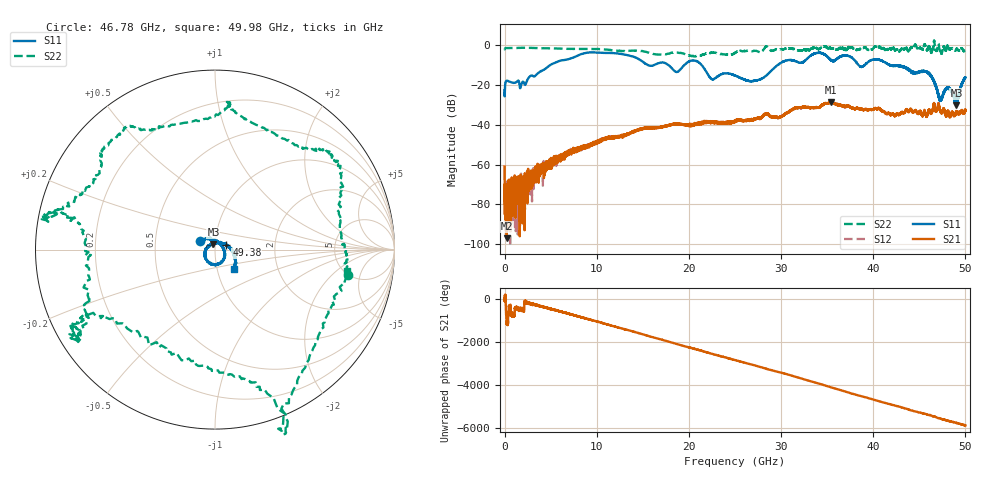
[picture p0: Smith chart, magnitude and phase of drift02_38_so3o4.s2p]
!Created with skrf (http://scikit-rf.org).
# Hz S RI R 50.0
!freq ReS11 ImS11 ReS21 ImS21 ReS12 ImS12 ReS22 ImS22
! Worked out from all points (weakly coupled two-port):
!   10001 points, 300 kHz to 50 GHz, reference 50 ohm
!   highest |S21| = -28.55 dB at 35.38 GHz (marker M1); lowest = -97.1 dB at 240.3 MHz (marker M2)
!   lowest |S11| = -30.3 dB at 49.03 GHz (marker M3), VSWR 1.06, Z = 49.1 + j2.89 ohm
!   |S11| at or under -10 dB: start of sweep to 4.956 GHz; 21.38 GHz to 29.63 GHz (8.248 GHz wide, 32.3 % of centre); 41.84 GHz to end of sweep (the widest 3 of 11)
!   |S22| runs from -5.7 to 2.4 dB; largest |S21 - S12| = 0.0033
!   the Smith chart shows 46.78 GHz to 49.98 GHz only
!   S11 on the Smith chart (normalised r, x): 46.78 GHz: 0.84, +0.08; 49.38 GHz: 1.13, +0.06; 49.98 GHz: 1.21, -0.26
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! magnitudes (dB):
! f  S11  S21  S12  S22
! 300 kHz  -22.6  -61.0  -63.1  -2.0
! 240.3 MHz  -17.9  -97.1  -74.9  -1.4
! 1.875 GHz  -19.0  -70.8  -79.7  -1.3
! 3.6 GHz  -14.2  -61.6  -61.0  -1.5
! 8.335 GHz  -4.5  -52.3  -51.6  -1.9
! 16.67 GHz  -9.1  -41.3  -41.4  -4.7
! 18.7 GHz  -13.5  -39.6  -39.5  -3.7
! 20.6 GHz  -7.7  -40.2  -39.7  -5.7
! 22.51 GHz  -17.1  -38.8  -38.9  -3.7
! 25 GHz  -15.3  -37.9  -38.3  -3.9
! 27.49 GHz  -17.5  -36.4  -36.5  -3.2
! 33.34 GHz  -4.9  -31.4  -31.3  -1.6
! 35.38 GHz  -7.3  -28.5  -28.7  -1.4
! 41.67 GHz  -9.7  -34.2  -34.3  -1.9
! 45.77 GHz  -13.3  -35.3  -35.7  -1.8
! 46.78 GHz  -20.3  -33.3  -33.1  -2.4
! 47.27 GHz  -27.9  -32.9  -33.2  -3.3
! 48.11 GHz  -21.5  -33.1  -33.4  -0.6
! 49.03 GHz  -30.3  -33.5  -34.0  -1.9
! 49.38 GHz  -23.3  -34.4  -34.0  -2.6
! 49.98 GHz  -16.5  -33.4  -32.7  -2.5
! 50 GHz  -16.3  -32.7  -32.5  -2.6
